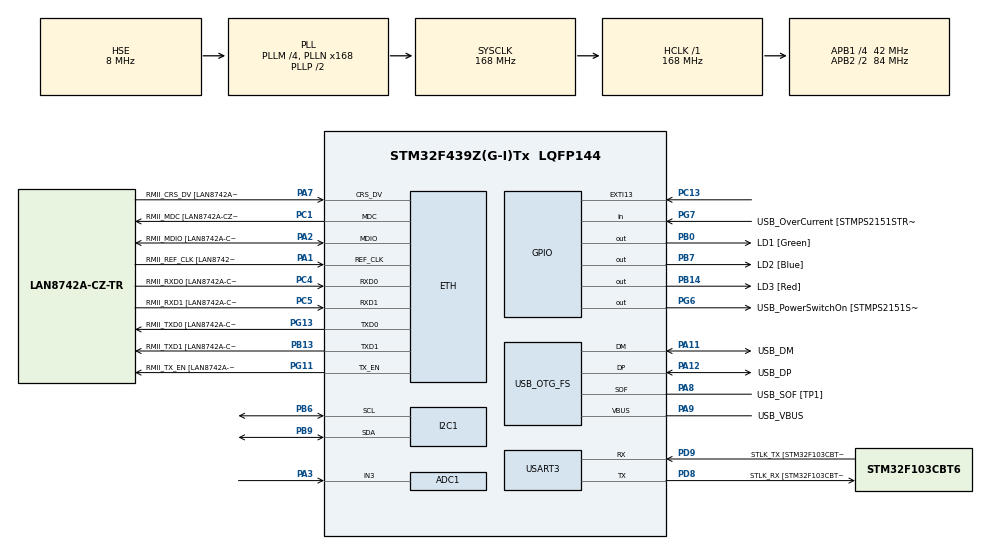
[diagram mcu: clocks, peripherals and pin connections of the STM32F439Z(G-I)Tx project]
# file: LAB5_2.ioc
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ADC1.Channel-0\#ChannelRegularConversion=ADC_CHANNEL_3
ADC1.ContinuousConvMode=ENABLE
ADC1.NbrOfConversionFlag=1
ADC1.Rank-0\#ChannelRegularConversion=1
ADC1.SamplingTime-0\#ChannelRegularConversion=ADC_SAMPLETIME_28CYCLES
ADC1.master=1
ETH.MediaInterface=HAL_ETH_RMII_MODE
ETH.PHY_Name=LAN8742A_PHY_ADDRESS
ETH.PHY_Value=0
ETH.PhyAddress=0
Mcu.Family=STM32F4
Mcu.Name=STM32F439Z(G-I)Tx
Mcu.Package=LQFP144
NVIC.EXTI15_10_IRQn=true\:0\:0\:false\:false\:true\:true\:true\:true
NVIC.PriorityGroup=NVIC_PRIORITYGROUP_4
NVIC.TIM2_IRQn=true\:0\:0\:false\:false\:true\:true\:true\:true
PA1.GPIO_Label=RMII_REF_CLK [LAN8742A-CZ-TR_REFCLK0]
PA1.Mode=RMII
PA1.Signal=ETH_REF_CLK
PA10.GPIO_Label=USB_ID
PA10.Signal=USB_OTG_FS_ID
PA11.GPIO_Label=USB_DM
PA11.Mode=Device_Only
PA11.Signal=USB_OTG_FS_DM
PA12.GPIO_Label=USB_DP
PA12.Mode=Device_Only
PA12.Signal=USB_OTG_FS_DP
PA13.GPIO_Label=TMS
PA13.Mode=Serial_Wire
PA13.Signal=SYS_JTMS-SWDIO
PA14.GPIO_Label=TCK
PA14.Mode=Serial_Wire
PA14.Signal=SYS_JTCK-SWCLK
PA2.GPIO_Label=RMII_MDIO [LAN8742A-CZ-TR_MDIO]
PA2.Mode=RMII
PA2.Signal=ETH_MDIO
PA3.Signal=ADCx_IN3
PA7.GPIO_Label=RMII_CRS_DV [LAN8742A-CZ-TR_CRS_DV]
PA7.Mode=RMII
PA7.Signal=ETH_CRS_DV
PA8.GPIO_Label=USB_SOF [TP1]
PA8.Mode=Activate_SOF_FS
PA8.Signal=USB_OTG_FS_SOF
PA9.GPIO_Label=USB_VBUS
PA9.Mode=Activate_VBUS
PA9.Signal=USB_OTG_FS_VBUS
PB0.GPIO_Label=LD1 [Green]
PB0.Signal=GPIO_Output
PB13.GPIO_Label=RMII_TXD1 [LAN8742A-CZ-TR_TXD1]
PB13.Mode=RMII
PB13.Signal=ETH_TXD1
PB14.GPIO_Label=LD3 [Red]
PB14.Signal=GPIO_Output
PB6.Mode=I2C
PB6.Signal=I2C1_SCL
PB7.GPIO_Label=LD2 [Blue]
PB7.Signal=GPIO_Output
PB9.Mode=I2C
PB9.Signal=I2C1_SDA
PC1.GPIO_Label=RMII_MDC [LAN8742A-CZ-TR_MDC]
PC1.Mode=RMII
PC1.Signal=ETH_MDC
PC13.Signal=GPXTI13
PC14/OSC32_IN.Mode=LSE-External-Oscillator
PC14/OSC32_IN.Signal=RCC_OSC32_IN
PC15/OSC32_OUT.Mode=LSE-External-Oscillator
PC15/OSC32_OUT.Signal=RCC_OSC32_OUT
PC4.GPIO_Label=RMII_RXD0 [LAN8742A-CZ-TR_RXD0]
PC4.Mode=RMII
PC4.Signal=ETH_RXD0
PC5.GPIO_Label=RMII_RXD1 [LAN8742A-CZ-TR_RXD1]
PC5.Mode=RMII
PC5.Signal=ETH_RXD1
PD8.GPIO_Label=STLK_RX [STM32F103CBT6_PA3]
PD8.Mode=Asynchronous
PD8.Signal=USART3_TX
PD9.GPIO_Label=STLK_TX [STM32F103CBT6_PA2]
PD9.Mode=Asynchronous
PD9.Signal=USART3_RX
PG11.GPIO_Label=RMII_TX_EN [LAN8742A-CZ-TR_TXEN]
PG11.Mode=RMII
PG11.Signal=ETH_TX_EN
PG13.GPIO_Label=RMII_TXD0 [LAN8742A-CZ-TR_TXD0]
PG13.Mode=RMII
PG13.Signal=ETH_TXD0
PG6.GPIO_Label=USB_PowerSwitchOn [STMPS2151STR_EN]
PG6.Signal=GPIO_Output
PG7.GPIO_Label=USB_OverCurrent [STMPS2151STR_FAULT]
PG7.Signal=GPIO_Input
PH0/OSC_IN.GPIO_Label=MCO [STM32F103CBT6_PA8]
PH0/OSC_IN.Mode=HSE-External-Clock-Source
PH0/OSC_IN.Signal=RCC_OSC_IN
PH1/OSC_OUT.Mode=HSE-External-Clock-Source
PH1/OSC_OUT.Signal=RCC_OSC_OUT
ProjectManager.HeapSize=0x200
ProjectManager.StackSize=0x400
ProjectManager.TargetToolchain=STM32CubeIDE
RCC.48MHZClocksFreq_Value=48000000
RCC.AHBFreq_Value=168000000
RCC.APB1CLKDivider=RCC_HCLK_DIV4
RCC.APB1Freq_Value=42000000
RCC.APB1TimFreq_Value=84000000
RCC.APB2CLKDivider=RCC_HCLK_DIV2
RCC.APB2Freq_Value=84000000
RCC.APB2TimCLKDivider=2
RCC.APB2TimFreq_Value=168000000
RCC.CortexFreq_Value=168000000
RCC.HCLKFreq_Value=168000000
RCC.HSE_VALUE=8000000
RCC.HSI_VALUE=16000000
RCC.PLLM=4
RCC.PLLMUL=RCC_PLL_MUL9
RCC.PLLN=168
RCC.PLLQ=7
RCC.PRESCALERUSB=RCC_USBCLKSOURCE_PLL_DIV1_5
RCC.SYSCLKFreq_VALUE=168000000
RCC.SYSCLKSource=RCC_SYSCLKSOURCE_PLLCLK
RCC.SYSCLKSourceVirtual=RCC_SYSCLKSOURCE_PLLCLK
RCC.USBFreq_Value=48000000
RCC.VCOOutputFreq_Value=336000000
SH.ADCx_IN3.0=ADC1_IN3,IN3
TIM2.Period=1000-1
TIM2.Prescaler=8400-1
USART3.VirtualMode=VM_ASYNC
USB_OTG_FS.VirtualMode=Device_Only
VP_TIM2_VS_ClockSourceINT.Mode=Internal
board=NUCLEO-F439ZI

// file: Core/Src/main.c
/* USER CODE BEGIN Header */
/**
  ******************************************************************************
  * @file           : main.c
  * @brief          : Main program body
  ******************************************************************************
  * @attention
  *
  * Copyright (c) 2025 STMicroelectronics.
  * All rights reserved.
  *
  * This software is licensed under terms that can be found in the LICENSE file
  * in the root directory of this software component.
  * If no LICENSE file comes with this software, it is provided AS-IS.
  *
  ******************************************************************************
  */
/* USER CODE END Header */
#include "main.h"
#include "string.h"

/* USER CODE BEGIN Includes */
#include "i2c-lcd.h"
/* USER CODE END Includes */

ETH_TxPacketConfig TxConfig;
ETH_DMADescTypeDef  DMARxDscrTab[ETH_RX_DESC_CNT]; /* Ethernet Rx DMA Descriptors */
ETH_DMADescTypeDef  DMATxDscrTab[ETH_TX_DESC_CNT]; /* Ethernet Tx DMA Descriptors */

ADC_HandleTypeDef hadc1;

ETH_HandleTypeDef heth;

I2C_HandleTypeDef hi2c1;

TIM_HandleTypeDef htim2;

UART_HandleTypeDef huart3;

PCD_HandleTypeDef hpcd_USB_OTG_FS;

/* USER CODE BEGIN PV */
int m=0,j=0;
float data;
char DATA_ARRAY[11];
uint32_t adc_value;
uint32_t voltage_integer;
uint32_t integer_part;
uint32_t decimal_part;
int full;
int deci;
int speed[3]= {1000,5000,10000};
int previoustime;
int currenttime;
int debouncetime=200;
/* USER CODE END PV */

void SystemClock_Config(void);
static void MX_GPIO_Init(void);
static void MX_ETH_Init(void);
static void MX_USART3_UART_Init(void);
static void MX_USB_OTG_FS_PCD_Init(void);
static void MX_I2C1_Init(void);
static void MX_ADC1_Init(void);
static void MX_TIM2_Init(void);

/* USER CODE BEGIN 0 */
void Load_graph(void){
	char line_1[] = {0x10,0x10,0x10,0x10,0x10,0x10,0x10,0x10};
	char line_2[] = {0x18,0x18,0x18,0x18,0x18,0x18,0x18,0x18};
	char line_3[] = {0x1c,0x1c,0x1c,0x1c,0x1c,0x1c,0x1c,0x1c};
	char line_4[] = {0x1E,0x1E,0x1E,0x1E,0x1E,0x1E,0x1E,0x1E};

	  lcd_send_cmd(0x40);
	  for(int i=0;i<8;i++){
		  lcd_send_data(line_1[i]);
	  }
	  lcd_send_cmd(0x40+8);
	  for(int i=0;i<8;i++){
		  lcd_send_data(line_2[i]);
	  }
	  lcd_send_cmd(0x40+16);
	  for(int i=0;i<8;i++){
		  lcd_send_data(line_3[i]);
	  }
	  lcd_send_cmd(0x40+24);
	  for(int i=0;i<8;i++){
		  lcd_send_data(line_4[i]);
	  }

}

void read_sensor(void){
	// PA3 as ADC
	HAL_ADC_Start(&hadc1);
		  HAL_ADC_PollForConversion(&hadc1, 200);

		  adc_value = HAL_ADC_GetValue(&hadc1);
		  voltage_integer = (adc_value * 800) / 4095;

		  integer_part = voltage_integer / 10;
		  decimal_part = voltage_integer % 10;
		  sprintf(DATA_ARRAY, "Temp: %02d.%01d", integer_part, decimal_part );

}

void display_graphs(void){
	  lcd_put_cur(0, 0);
	  lcd_send_string(DATA_ARRAY);
	  lcd_put_cur(0, 10);
	  lcd_send_data(0xDF);
	  lcd_put_cur(0, 11);
	  lcd_send_string("C");

	full=integer_part/5;
	for(j=0;j<16;j++){
		lcd_put_cur(1, j);
		lcd_send_string(" ");
	}
	for(j=0;j<full;j++){
		lcd_put_cur(1, j);
		lcd_send_data(255);
	}
	deci= integer_part%5;
	lcd_put_cur(1, full);
	if (deci!=0){
    lcd_send_data(deci-1);
	}
	else {
		lcd_send_string(" ");
	}

}
/* USER CODE END 0 */

int main(void)
{

  /* MCU Configuration--------------------------------------------------------*/

  /* Reset of all peripherals, Initializes the Flash interface and the Systick. */
  HAL_Init();

  /* Configure the system clock */
  SystemClock_Config();

  /* Initialize all configured peripherals */
  MX_GPIO_Init();
  MX_ETH_Init();
  MX_USART3_UART_Init();
  MX_USB_OTG_FS_PCD_Init();
  MX_I2C1_Init();
  MX_ADC1_Init();
  MX_TIM2_Init();

  /* USER CODE BEGIN 2 */
  HAL_TIM_Base_Start_IT(&htim2);
  lcd_init();
  lcd_clear();
  Load_graph();

  /* USER CODE END 2 */

  /* Infinite loop */
  while (1)
  {
	  read_sensor();
  }
}

void SystemClock_Config(void)
{
  RCC_OscInitTypeDef RCC_OscInitStruct = {0};
  RCC_ClkInitTypeDef RCC_ClkInitStruct = {0};

  /** Configure the main internal regulator output voltage
  */
  __HAL_RCC_PWR_CLK_ENABLE();
  __HAL_PWR_VOLTAGESCALING_CONFIG(PWR_REGULATOR_VOLTAGE_SCALE1);

  /** Initializes the RCC Oscillators according to the specified parameters
  * in the RCC_OscInitTypeDef structure.
  */
  RCC_OscInitStruct.OscillatorType = RCC_OSCILLATORTYPE_HSE;
  RCC_OscInitStruct.HSEState = RCC_HSE_BYPASS;
  RCC_OscInitStruct.PLL.PLLState = RCC_PLL_ON;
  RCC_OscInitStruct.PLL.PLLSource = RCC_PLLSOURCE_HSE;
  RCC_OscInitStruct.PLL.PLLM = 4;
  RCC_OscInitStruct.PLL.PLLN = 168;
  RCC_OscInitStruct.PLL.PLLP = RCC_PLLP_DIV2;
  RCC_OscInitStruct.PLL.PLLQ = 7;
  if (HAL_RCC_OscConfig(&RCC_OscInitStruct) != HAL_OK)
  {
    Error_Handler();
  }

  /** Initializes the CPU, AHB and APB buses clocks
  */
  RCC_ClkInitStruct.ClockType = RCC_CLOCKTYPE_HCLK|RCC_CLOCKTYPE_SYSCLK
                              |RCC_CLOCKTYPE_PCLK1|RCC_CLOCKTYPE_PCLK2;
  RCC_ClkInitStruct.SYSCLKSource = RCC_SYSCLKSOURCE_PLLCLK;
  RCC_ClkInitStruct.AHBCLKDivider = RCC_SYSCLK_DIV1;
  RCC_ClkInitStruct.APB1CLKDivider = RCC_HCLK_DIV4;
  RCC_ClkInitStruct.APB2CLKDivider = RCC_HCLK_DIV2;

  if (HAL_RCC_ClockConfig(&RCC_ClkInitStruct, FLASH_LATENCY_5) != HAL_OK)
  {
    Error_Handler();
  }
}

static void MX_ADC1_Init(void)
{

  ADC_ChannelConfTypeDef sConfig = {0};

  /** Configure the global features of the ADC (Clock, Resolution, Data Alignment and number of conversion)
  */
  hadc1.Instance = ADC1;
  hadc1.Init.ClockPrescaler = ADC_CLOCK_SYNC_PCLK_DIV4;
  hadc1.Init.Resolution = ADC_RESOLUTION_12B;
  hadc1.Init.ScanConvMode = DISABLE;
  hadc1.Init.ContinuousConvMode = ENABLE;
  hadc1.Init.DiscontinuousConvMode = DISABLE;
  hadc1.Init.ExternalTrigConvEdge = ADC_EXTERNALTRIGCONVEDGE_NONE;
  hadc1.Init.ExternalTrigConv = ADC_SOFTWARE_START;
  hadc1.Init.DataAlign = ADC_DATAALIGN_RIGHT;
  hadc1.Init.NbrOfConversion = 1;
  hadc1.Init.DMAContinuousRequests = DISABLE;
  hadc1.Init.EOCSelection = ADC_EOC_SINGLE_CONV;
  if (HAL_ADC_Init(&hadc1) != HAL_OK)
  {
    Error_Handler();
  }

  /** Configure for the selected ADC regular channel its corresponding rank in the sequencer and its sample time.
  */
  sConfig.Channel = ADC_CHANNEL_3;
  sConfig.Rank = 1;
  sConfig.SamplingTime = ADC_SAMPLETIME_28CYCLES;
  if (HAL_ADC_ConfigChannel(&hadc1, &sConfig) != HAL_OK)
  {
    Error_Handler();
  }

}

static void MX_ETH_Init(void)
{

   static uint8_t MACAddr[6];

  heth.Instance = ETH;
  MACAddr[0] = 0x00;
  MACAddr[1] = 0x80;
  MACAddr[2] = 0xE1;
  MACAddr[3] = 0x00;
  MACAddr[4] = 0x00;
  MACAddr[5] = 0x00;
  heth.Init.MACAddr = &MACAddr[0];
  heth.Init.MediaInterface = HAL_ETH_RMII_MODE;
  heth.Init.TxDesc = DMATxDscrTab;
  heth.Init.RxDesc = DMARxDscrTab;
  heth.Init.RxBuffLen = 1524;

  if (HAL_ETH_Init(&heth) != HAL_OK)
  {
    Error_Handler();
  }

  memset(&TxConfig, 0 , sizeof(ETH_TxPacketConfig));
  TxConfig.Attributes = ETH_TX_PACKETS_FEATURES_CSUM | ETH_TX_PACKETS_FEATURES_CRCPAD;
  TxConfig.ChecksumCtrl = ETH_CHECKSUM_IPHDR_PAYLOAD_INSERT_PHDR_CALC;
  TxConfig.CRCPadCtrl = ETH_CRC_PAD_INSERT;

}

static void MX_I2C1_Init(void)
{

  hi2c1.Instance = I2C1;
  hi2c1.Init.ClockSpeed = 100000;
  hi2c1.Init.DutyCycle = I2C_DUTYCYCLE_2;
  hi2c1.Init.OwnAddress1 = 0;
  hi2c1.Init.AddressingMode = I2C_ADDRESSINGMODE_7BIT;
  hi2c1.Init.DualAddressMode = I2C_DUALADDRESS_DISABLE;
  hi2c1.Init.OwnAddress2 = 0;
  hi2c1.Init.GeneralCallMode = I2C_GENERALCALL_DISABLE;
  hi2c1.Init.NoStretchMode = I2C_NOSTRETCH_DISABLE;
  if (HAL_I2C_Init(&hi2c1) != HAL_OK)
  {
    Error_Handler();
  }

  /** Configure Analogue filter
  */
  if (HAL_I2CEx_ConfigAnalogFilter(&hi2c1, I2C_ANALOGFILTER_ENABLE) != HAL_OK)
  {
    Error_Handler();
  }

  /** Configure Digital filter
  */
  if (HAL_I2CEx_ConfigDigitalFilter(&hi2c1, 0) != HAL_OK)
  {
    Error_Handler();
  }

}

static void MX_TIM2_Init(void)
{

  TIM_ClockConfigTypeDef sClockSourceConfig = {0};
  TIM_MasterConfigTypeDef sMasterConfig = {0};

  htim2.Instance = TIM2;
  htim2.Init.Prescaler = 8400-1;
  htim2.Init.CounterMode = TIM_COUNTERMODE_UP;
  htim2.Init.Period = 1000-1;
  htim2.Init.ClockDivision = TIM_CLOCKDIVISION_DIV1;
  htim2.Init.AutoReloadPreload = TIM_AUTORELOAD_PRELOAD_DISABLE;
  if (HAL_TIM_Base_Init(&htim2) != HAL_OK)
  {
    Error_Handler();
  }
  sClockSourceConfig.ClockSource = TIM_CLOCKSOURCE_INTERNAL;
  if (HAL_TIM_ConfigClockSource(&htim2, &sClockSourceConfig) != HAL_OK)
  {
    Error_Handler();
  }
  sMasterConfig.MasterOutputTrigger = TIM_TRGO_RESET;
  sMasterConfig.MasterSlaveMode = TIM_MASTERSLAVEMODE_DISABLE;
  if (HAL_TIMEx_MasterConfigSynchronization(&htim2, &sMasterConfig) != HAL_OK)
  {
    Error_Handler();
  }

}

static void MX_USART3_UART_Init(void)
{

  huart3.Instance = USART3;
  huart3.Init.BaudRate = 115200;
  huart3.Init.WordLength = UART_WORDLENGTH_8B;
  huart3.Init.StopBits = UART_STOPBITS_1;
  huart3.Init.Parity = UART_PARITY_NONE;
  huart3.Init.Mode = UART_MODE_TX_RX;
  huart3.Init.HwFlowCtl = UART_HWCONTROL_NONE;
  huart3.Init.OverSampling = UART_OVERSAMPLING_16;
  if (HAL_UART_Init(&huart3) != HAL_OK)
  {
    Error_Handler();
  }

}

static void MX_USB_OTG_FS_PCD_Init(void)
{

  hpcd_USB_OTG_FS.Instance = USB_OTG_FS;
  hpcd_USB_OTG_FS.Init.dev_endpoints = 4;
  hpcd_USB_OTG_FS.Init.speed = PCD_SPEED_FULL;
  hpcd_USB_OTG_FS.Init.dma_enable = DISABLE;
  hpcd_USB_OTG_FS.Init.phy_itface = PCD_PHY_EMBEDDED;
  hpcd_USB_OTG_FS.Init.Sof_enable = ENABLE;
  hpcd_USB_OTG_FS.Init.low_power_enable = DISABLE;
  hpcd_USB_OTG_FS.Init.lpm_enable = DISABLE;
  hpcd_USB_OTG_FS.Init.vbus_sensing_enable = ENABLE;
  hpcd_USB_OTG_FS.Init.use_dedicated_ep1 = DISABLE;
  if (HAL_PCD_Init(&hpcd_USB_OTG_FS) != HAL_OK)
  {
    Error_Handler();
  }

}

static void MX_GPIO_Init(void)
{
  GPIO_InitTypeDef GPIO_InitStruct = {0};

  /* GPIO Ports Clock Enable */
  __HAL_RCC_GPIOC_CLK_ENABLE();
  __HAL_RCC_GPIOH_CLK_ENABLE();
  __HAL_RCC_GPIOA_CLK_ENABLE();
  __HAL_RCC_GPIOB_CLK_ENABLE();
  __HAL_RCC_GPIOD_CLK_ENABLE();
  __HAL_RCC_GPIOG_CLK_ENABLE();

  /*Configure GPIO pin Output Level */
  HAL_GPIO_WritePin(GPIOB, LD1_Pin|LD3_Pin|LD2_Pin, GPIO_PIN_RESET);

  /*Configure GPIO pin Output Level */
  HAL_GPIO_WritePin(USB_PowerSwitchOn_GPIO_Port, USB_PowerSwitchOn_Pin, GPIO_PIN_RESET);

  /*Configure GPIO pin : PC13 */
  GPIO_InitStruct.Pin = GPIO_PIN_13;
  GPIO_InitStruct.Mode = GPIO_MODE_IT_RISING;
  GPIO_InitStruct.Pull = GPIO_NOPULL;
  HAL_GPIO_Init(GPIOC, &GPIO_InitStruct);

  /*Configure GPIO pins : LD1_Pin LD3_Pin LD2_Pin */
  GPIO_InitStruct.Pin = LD1_Pin|LD3_Pin|LD2_Pin;
  GPIO_InitStruct.Mode = GPIO_MODE_OUTPUT_PP;
  GPIO_InitStruct.Pull = GPIO_NOPULL;
  GPIO_InitStruct.Speed = GPIO_SPEED_FREQ_LOW;
  HAL_GPIO_Init(GPIOB, &GPIO_InitStruct);

  /*Configure GPIO pin : USB_PowerSwitchOn_Pin */
  GPIO_InitStruct.Pin = USB_PowerSwitchOn_Pin;
  GPIO_InitStruct.Mode = GPIO_MODE_OUTPUT_PP;
  GPIO_InitStruct.Pull = GPIO_NOPULL;
  GPIO_InitStruct.Speed = GPIO_SPEED_FREQ_LOW;
  HAL_GPIO_Init(USB_PowerSwitchOn_GPIO_Port, &GPIO_InitStruct);

  /*Configure GPIO pin : USB_OverCurrent_Pin */
  GPIO_InitStruct.Pin = USB_OverCurrent_Pin;
  GPIO_InitStruct.Mode = GPIO_MODE_INPUT;
  GPIO_InitStruct.Pull = GPIO_NOPULL;
  HAL_GPIO_Init(USB_OverCurrent_GPIO_Port, &GPIO_InitStruct);

  /* EXTI interrupt init*/
  HAL_NVIC_SetPriority(EXTI15_10_IRQn, 0, 0);
  HAL_NVIC_EnableIRQ(EXTI15_10_IRQn);

}

/* USER CODE BEGIN 4 */
void HAL_GPIO_EXTI_Callback(uint16_t GPIO_Pin)
{
  /* Prevent unused argument(s) compilation warning */
  UNUSED(GPIO_Pin);
  /* NOTE: This function Should not be modified, when the callback is needed,
           the HAL_GPIO_EXTI_Callback could be implemented in the user file
   */
  // PIN 15 FOR increment BUTTON
  // PIN 10 FOR select_BUTTON
  currenttime = HAL_GetTick();

  // user button to change speed
  if (GPIO_Pin == GPIO_PIN_13 && (currenttime-previoustime>debouncetime) ){
			  m=(m+1)%3;
			  __HAL_TIM_SET_AUTORELOAD(&htim2, speed[m]-1);
			    TIM2->CNT = 0;               // Reset counter
			    TIM2->EGR |= TIM_EGR_UG;     // Force update
			    TIM2->CR1 |= TIM_CR1_CEN;    // Restart Timer
			  previoustime=currenttime;
	  }
 }

void HAL_TIM_PeriodElapsedCallback(TIM_HandleTypeDef *htim)
{
  /* Prevent unused argument(s) compilation warning */
  UNUSED(htim);

  /* NOTE : This function should not be modified, when the callback is needed,
            the HAL_TIM_PeriodElapsedCallback could be implemented in the user file
   */
  if (htim->Instance==TIM2){
	  display_graphs();
	  }

}
/* USER CODE END 4 */

void Error_Handler(void)
{
  __disable_irq();
  while (1)
  {
  }
}
